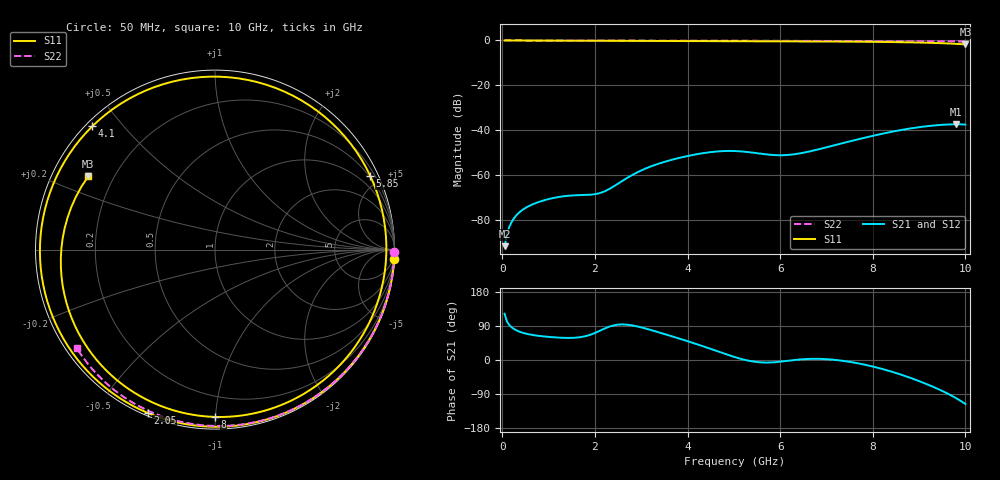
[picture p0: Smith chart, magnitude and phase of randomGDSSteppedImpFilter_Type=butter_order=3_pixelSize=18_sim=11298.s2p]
! freq	dB(S11)	phase(S11)	dB(S12)	phase(S12)
!  dB(S21)	phase(S21)	dB(S22)	phase(S22)
!S-par simulation data
#  GHz  S  DB  R 50
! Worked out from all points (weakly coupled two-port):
!   200 points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, 50 MHz to 10 GHz, reference 50 ohm
!   highest |S21| = -37.30 dB at 9.8 GHz (marker M1); lowest = -91.6 dB at 50 MHz (marker M2)
!   lowest |S11| = -1.8 dB at 10 GHz (marker M3), VSWR 9.86, Z = 5.43 + j13.2 ohm
!   |S11| at or under -10 dB: nowhere
!   |S22| runs from -0.5 to 0.0 dB; largest |S21 - S12| = 0
!   S11 on the Smith chart (normalised r, x): 50 MHz: 0, -40; 2.05 GHz: 0.01, -0.67; 4.1 GHz: 0.02, +0.42; 5.85 GHz: 0.44, +4.39; 8 GHz: 0.07, -1.00; 10 GHz: 0.11, +0.26
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0.05  -0.00 -2.9  -91.57 122.1  -91.57 122.1  -0.00 -0.9
0.2  -0.01 -11.4  -80.88 86.4  -80.88 86.4  -0.00 -3.4
0.5  -0.04 -28.2  -74.56 69.8  -74.56 69.8  -0.01 -8.4
0.95  -0.07 -53.1  -70.87 61.6  -70.87 61.6  -0.02 -15.8
1.35  -0.09 -75.0  -69.30 58.4  -69.30 58.4  -0.03 -22.4
1.75  -0.12 -96.5  -68.80 61.6  -68.80 61.6  -0.04 -28.9
2.05  -0.14 -112.4  -68.23 74.0  -68.23 74.0  -0.04 -33.7
2.75  -0.18 -149.5  -60.53 92.4  -60.53 92.4  -0.06 -44.8
3.4  -0.22 175.2  -54.69 72.3  -54.69 72.3  -0.07 -54.9
4.1  -0.27 134.8  -51.03 45.7  -51.03 45.7  -0.09 -65.4
4.6  -0.31 104.2  -49.49 25.1  -49.49 25.1  -0.11 -72.8
5.05  -0.33 75.8  -49.25 6.6  -49.25 6.6  -0.12 -79.3
5.4  -0.35 53.6  -49.92 -3.7  -49.92 -3.7  -0.13 -84.2
5.85  -0.38 25.4  -50.99 -6.1  -50.99 -6.1  -0.15 -90.5
6.25  -0.40 1.4  -50.81 -0.8  -50.81 -0.8  -0.17 -95.9
6.7  -0.43 -24.2  -49.10 3.1  -49.10 3.1  -0.20 -102.0
7.35  -0.50 -58.3  -45.72 -2.1  -45.72 -2.1  -0.24 -110.6
8  -0.61 -90.1  -42.46 -17.2  -42.46 -17.2  -0.29 -119.0
8.35  -0.69 -106.9  -40.90 -28.7  -40.90 -28.7  -0.32 -123.5
9.2  -1.03 -151.1  -38.11 -65.4  -38.11 -65.4  -0.40 -134.3
9.8  -1.51 167.8  -37.30 -100.7  -37.30 -100.7  -0.46 -141.9
10  -1.77 150.0  -37.46 -116.0  -37.46 -116.0  -0.48 -144.5
